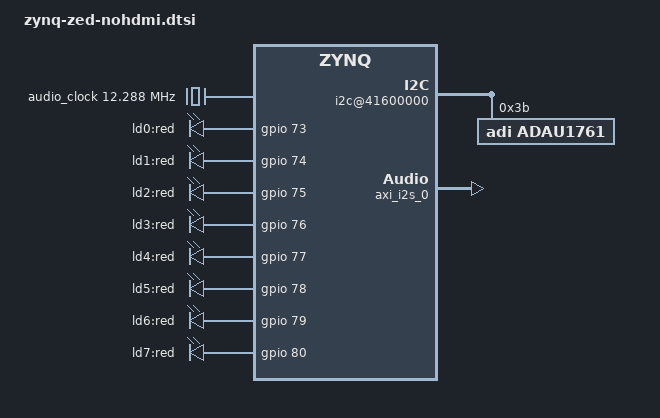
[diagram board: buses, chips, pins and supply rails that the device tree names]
/ {
	fpga_axi: fpga-axi@0 {
		compatible = "simple-bus";
		#address-cells = <0x1>;
		#size-cells = <0x1>;
		ranges;

		i2c@41600000 {
			compatible = "xlnx,axi-iic-1.01.b", "xlnx,xps-iic-2.00.a";
			interrupt-parent = <&gic>;
			interrupts = <0 58 0x4>;
			reg = <0x41600000 0x10000>;

			#size-cells = <0>;
			#address-cells = <1>;

			adau1761: adau1761@3b {
				compatible = "adi,adau1761";
				reg = <0x3b>;
			};
		};

		audio_clock: audio_clock {
			compatible = "fixed-clock";
			#clock-cells = <0>;
			clock-frequency = <12288000>;
		};

		axi_i2s_0: axi-i2s@0x77600000 {
			compatible = "adi,axi-i2s-1.00.a";
			reg = <0x77600000 0x1000>;
			dmas = <&ps7_dma 1 &ps7_dma 2>;
			dma-names = "tx", "rx";
			clocks = <&clkc 15>, <&audio_clock>, <&audio_clock>;
			clock-names = "axi", "ref", "i2s";
		};

		zed_sound: zed_sound {
			compatible = "digilent,zed-sound";
			audio-codec = <&adau1761>;
			cpu-dai = <&axi_i2s_0>;
		};
	};

	leds {
		compatible = "gpio-leds";
		ld0 {
			label = "ld0:red";
			gpios = <&gpio 73 0>;
		};

		ld1 {
			label = "ld1:red";
			gpios = <&gpio 74 0>;
		};

		ld2 {
			label = "ld2:red";
			gpios = <&gpio 75 0>;
		};

		ld3 {
			label = "ld3:red";
			gpios = <&gpio 76 0>;
		};

		ld4 {
			label = "ld4:red";
			gpios = <&gpio 77 0>;
		};

		ld5 {
			label = "ld5:red";
			gpios = <&gpio 78 0>;
		};

		ld6 {
			label = "ld6:red";
			gpios = <&gpio 79 0>;
		};

		ld7 {
			label = "ld7:red";
			gpios = <&gpio 80 0>;
		};
	};
};
